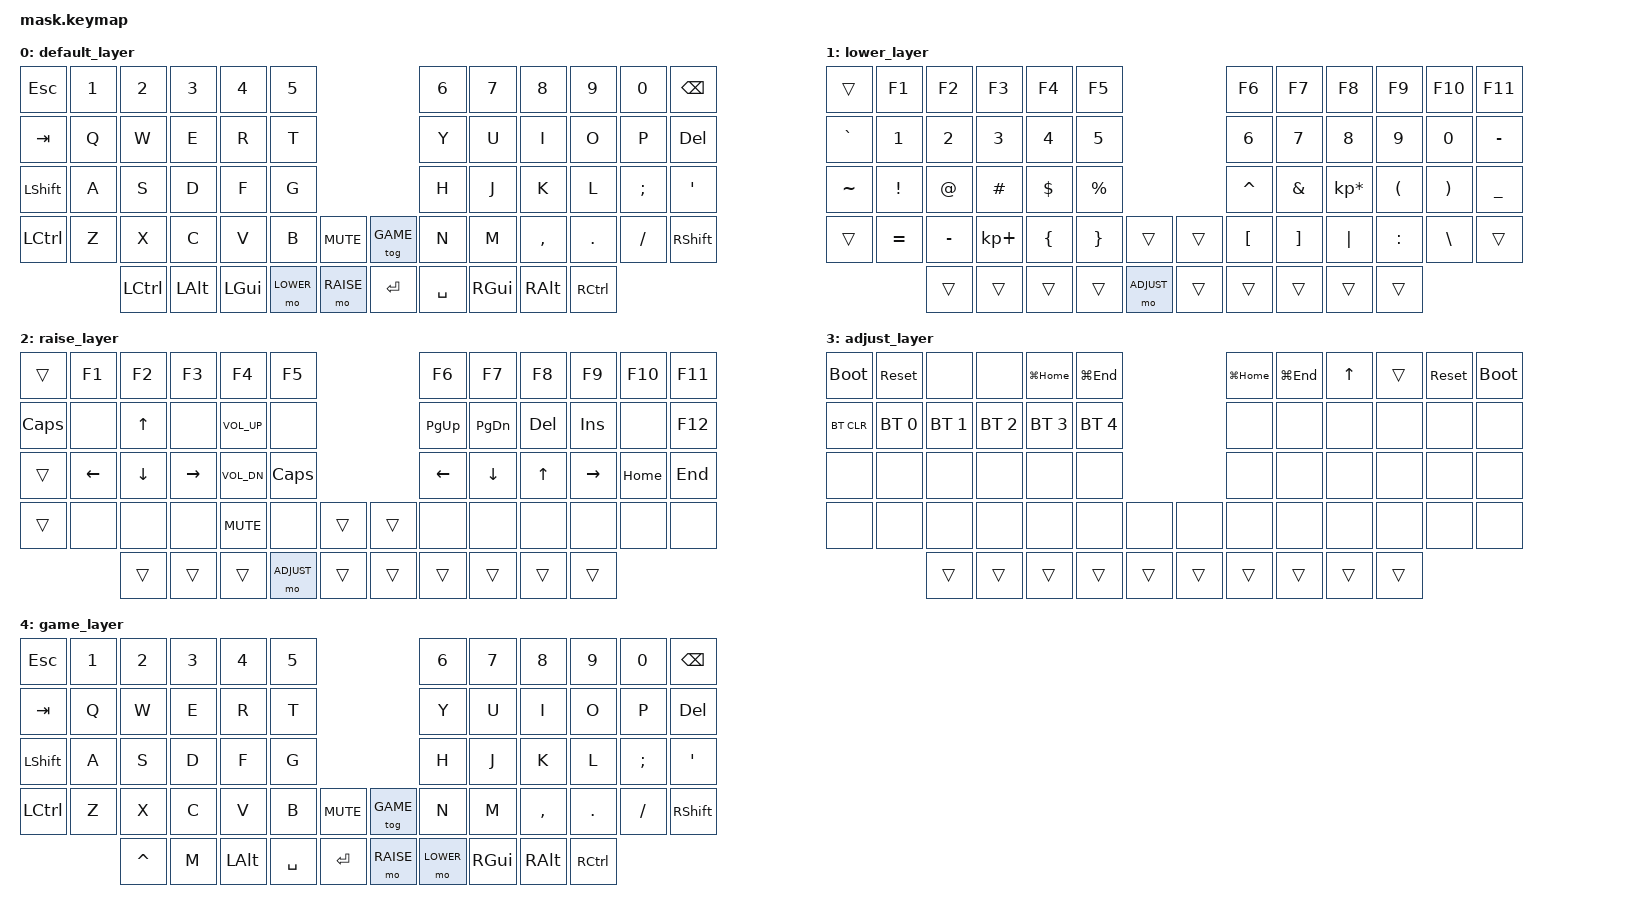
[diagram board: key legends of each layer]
/*
 * Copyright (c) 2020 The ZMK Contributors
 *
 * SPDX-License-Identifier: MIT
 */

#include <behaviors.dtsi>
#include <dt-bindings/zmk/keys.h>
#include <dt-bindings/zmk/bt.h>
#include <dt-bindings/zmk/reset.h>

// layers
#define BASE   0
#define LOWER  1
#define RAISE  2
#define ADJUST 3
#define GAME   4

/ {
    keymap {
        compatible = "zmk,keymap";

        default_layer {
// ------------------------------------------------------------------------------------------------------------
// |  ESC  |  1  |  2  |  3   |  4   |  5   |                   |  6   |  7    |  8    |  9   |   0   | BKSPC |
// |  TAB  |  Q  |  W  |  E   |  R   |  T   |                   |  Y   |  U    |  I    |  O   |   P   |  DEL  |
// | SHIFT |  A  |  S  |  D   |  F   |  G   |                   |  H   |  J    |  K    |  L   |   ;   |   '   |
// |  CTRL |  Z  |  X  |  C   |  V   |  B   |  MUTE  |  | GAME  |  N   |  M    |  ,    |  .   |   /   | SHIFT |
//               | CTRL| ALT  | GUI  | LOWER|  RAISE |  | ENTER | SPACE| GUI   | ALT   | CTRL |
            bindings = <
&kp ESC   &kp N1 &kp N2    &kp N3   &kp N4   &kp N5                         &kp N6    &kp N7    &kp N8    &kp N9    &kp N0   &kp BSPC
&kp TAB   &kp Q  &kp W     &kp E    &kp R    &kp T                          &kp Y     &kp U     &kp I     &kp O     &kp P    &kp DEL
&kp LSHFT &kp A  &kp S     &kp D    &kp F    &kp G                          &kp H     &kp J     &kp K     &kp L     &kp SEMI &kp SQT
&kp LCTRL &kp Z  &kp X     &kp C    &kp V    &kp B     &kp C_MUTE &tog GAME &kp N     &kp M     &kp COMMA &kp DOT   &kp FSLH &kp RSHFT
                 &kp LCTRL &kp LALT &kp LGUI &mo LOWER &mo RAISE  &kp RET   &kp SPACE &kp RGUI  &kp RALT  &kp RCTRL
            >;
        };

        lower_layer {
// TODO: Some binds are waiting for shifted keycode support.
// ------------------------------------------------------------------------------------------------------------
// |       |  F1 |  F2 |  F3  |  F4  |  F5  |                   |  F6  |  F7   |  F8   |  F9  |  F10  |  F11  |
// | `     |   1 |   2 |   3  |   4  |   5  |                   |   6  |   7   |   8   |   9  |    0  |  F12  |
// |       |  !  |  @  |  #   |  $   |  %   |                   |  ^   |  &    |  *    |  (   |   )   |   |   |
// |       |  =  |  -  |  +   |  {   |  }   |        |  |       |  [   |  ]    |  ;    |  :   |   \   |       |
//               |     |      |      |      |        |  |       |      |       |       |      |
            bindings = <
&trans    &kp F1    &kp F2    &kp F3      &kp F4    &kp F5                       &kp F6    &kp F7   &kp F8          &kp F9    &kp F10   &kp F11
&kp GRAVE &kp N1    &kp N2    &kp N3      &kp N4    &kp N5                       &kp N6    &kp N7   &kp N8          &kp N9    &kp N0    &kp MINUS
&kp TILDE &kp EXCL  &kp AT    &kp HASH    &kp DLLR  &kp PRCNT                    &kp CARET &kp AMPS &kp KP_MULTIPLY &kp LPAR  &kp RPAR  &kp UNDER
&trans    &kp EQUAL &kp MINUS &kp KP_PLUS &kp LBRC  &kp RBRC  &trans      &trans &kp LBKT  &kp RBKT &kp PIPE        &kp COLON &kp BSLH  &trans
                    &trans    &trans      &trans    &trans    &mo ADJUST  &trans &trans    &trans   &trans          &trans
            >;
        };

        raise_layer {
// ------------------------------------------------------------------------------------------------------------
// |     |  F1  |  F2  |  F3   |  F4   |  F5  |                |  F6  |  F7  |  F8   |  F9  |  F10  |  F11  |
// |CAPS |      |  UP  |       | VOL+  |      |                | PGUP |      |   ^   |      |       |  F12  |
// |     | LEFT | DOWN | RIGHT | VOL-  |      |                | PGDN |   <- |   v   |  ->  |  DEL  | BKSPC |
// |     |      |      |       | MUTE  |      |      |  |      |      |      |       |      |       |       |
//              |      |       |       |      |      |  |      |      |      |       |      |
            bindings = <
&trans   &kp F1   &kp F2   &kp F3    &kp F4       &kp F5                      &kp F6    &kp F7    &kp F8   &kp F9    &kp F10  &kp F11
&kp CLCK &none    &kp UP   &none     &kp C_VOL_UP &none                       &kp PG_UP &kp PG_DN &kp DEL  &kp INS   &none    &kp F12
&trans   &kp LEFT &kp DOWN &kp RIGHT &kp C_VOL_DN &kp CLCK                    &kp LEFT  &kp DOWN  &kp UP   &kp RIGHT &kp HOME &kp END
&trans   &none    &none    &none     &kp C_MUTE   &none      &trans   &trans  &none     &none     &none    &none     &none    &none
                  &trans   &trans    &trans       &mo ADJUST &trans   &trans  &trans    &trans    &trans   &trans
            >;
        };
        adjust_layer {
// ------------------------------------------------------------------------------------------------------------
// |BOOT | RESET|      |       | GEND  |GHOME |                | GHOME| GEND |       |      | RESET | BOOT  |
// |BTCLR| BT1  | BT2  |  BT3  |  BT4  |  BT5 |                |      |      |       |      |       |       |
// |     | ALT  | CTRL | SHIFT |       | CAPS |                |      |      |       |      |       |       |
// |     | UNDO | CUT  | COPY  | PASTE |      |      |  |      |      |      |       |      |       |       |
//              |      |       |       |      |      |  |      |      |      |       |      |
            bindings = <
&bootloader &sys_reset    &none        &none        &kp LG(HOME) &kp LG(END)              &kp LG(HOME) &kp LG(END) &kp UP   &trans    &sys_reset  &bootloader
&bt BT_CLR  &bt BT_SEL 0  &bt BT_SEL 1 &bt BT_SEL 2 &bt BT_SEL 3 &bt BT_SEL 4             &none        &none       &none    &none     &none       &none
&none       &none         &none        &none        &none        &none                    &none        &none       &none    &none     &none       &none
&none       &none         &none        &none        &none        &none   &none    &none   &none        &none       &none    &none     &none       &none
                          &trans       &trans       &trans       &trans  &trans   &trans  &trans       &trans      &trans   &trans
            >;
        };

        game_layer {
// ------------------------------------------------------------------------------------------------------------
// |  ESC  |  1  |  2  |  3   |  4   |  5   |                   |  6   |  7    |  8    |  9   |   0   | BKSPC |
// |  TAB  |  Q  |  W  |  E   |  R   |  T   |                   |  Y   |  U    |  I    |  O   |   P   |  DEL  |
// | SHIFT |  A  |  S  |  D   |  F   |  G   |                   |  H   |  J    |  K    |  L   |   ;   |   '   |
// |  CTRL |  Z  |  X  |  C   |  V   |  B   |  MUTE  |  | GAME  |  N   |  M    |  ,    |  .   |   /   | SHIFT |
//               |  ^  |  M   | ALT  | SPACE|  ENTER |  | SPACE | RAISE| CTRL  | ALT   | GUI  |
            bindings = <
&kp ESC   &kp N1 &kp N2    &kp N3   &kp N4   &kp N5                          &kp N6    &kp N7    &kp N8    &kp N9    &kp N0   &kp BSPC
&kp TAB   &kp Q  &kp W     &kp E    &kp R    &kp T                           &kp Y     &kp U     &kp I     &kp O     &kp P    &kp DEL
&kp LSHFT &kp A  &kp S     &kp D    &kp F    &kp G                           &kp H     &kp J     &kp K     &kp L     &kp SEMI &kp SQT
&kp LCTRL &kp Z  &kp X     &kp C    &kp V    &kp B     &kp C_MUTE &tog GAME  &kp N     &kp M     &kp COMMA &kp DOT   &kp FSLH &kp RSHFT
                 &kp CARET &kp M    &kp LALT &kp SPACE &kp RET    &mo RAISE  &mo LOWER &kp RGUI  &kp RALT  &kp RCTRL
            >;
        };

    };
};
